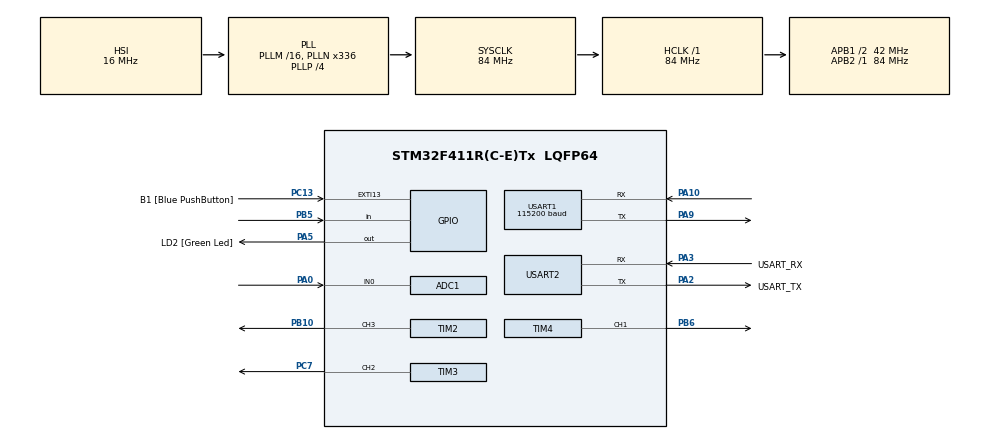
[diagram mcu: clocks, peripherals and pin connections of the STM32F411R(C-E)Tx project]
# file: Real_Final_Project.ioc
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ADC1.Channel-0\#ChannelRegularConversion=ADC_CHANNEL_0
ADC1.NbrOfConversionFlag=1
ADC1.Rank-0\#ChannelRegularConversion=1
ADC1.SamplingTime-0\#ChannelRegularConversion=ADC_SAMPLETIME_480CYCLES
ADC1.master=1
Mcu.Family=STM32F4
Mcu.Name=STM32F411R(C-E)Tx
Mcu.Package=LQFP64
NVIC.PriorityGroup=NVIC_PRIORITYGROUP_0
PA0-WKUP.Signal=ADCx_IN0
PA10.Mode=Asynchronous
PA10.Signal=USART1_RX
PA13.GPIO_Label=TMS
PA13.Mode=Serial_Wire
PA13.Signal=SYS_JTMS-SWDIO
PA14.GPIO_Label=TCK
PA14.Mode=Serial_Wire
PA14.Signal=SYS_JTCK-SWCLK
PA2.GPIO_Label=USART_TX
PA2.Mode=Asynchronous
PA2.Signal=USART2_TX
PA3.GPIO_Label=USART_RX
PA3.Mode=Asynchronous
PA3.Signal=USART2_RX
PA5.GPIO_Label=LD2 [Green Led]
PA5.Signal=GPIO_Output
PA9.Mode=Asynchronous
PA9.Signal=USART1_TX
PB10.Signal=S_TIM2_CH3
PB3.GPIO_Label=SWO
PB3.Signal=SYS_JTDO-SWO
PB5.Signal=GPIO_Input
PB6.Signal=S_TIM4_CH1
PC13-ANTI_TAMP.GPIO_Label=B1 [Blue PushButton]
PC13-ANTI_TAMP.GPIO_ModeDefaultEXTI=GPIO_MODE_IT_FALLING
PC13-ANTI_TAMP.Signal=GPXTI13
PC14-OSC32_IN.Mode=LSE-External-Oscillator
PC14-OSC32_IN.Signal=RCC_OSC32_IN
PC15-OSC32_OUT.Mode=LSE-External-Oscillator
PC15-OSC32_OUT.Signal=RCC_OSC32_OUT
PC7.Signal=S_TIM3_CH2
PH0\ -\ OSC_IN.Mode=HSE-External-Clock-Source
PH0\ -\ OSC_IN.Signal=RCC_OSC_IN
PH1\ -\ OSC_OUT.Mode=HSE-External-Clock-Source
PH1\ -\ OSC_OUT.Signal=RCC_OSC_OUT
ProjectManager.HeapSize=0x200
ProjectManager.StackSize=0x400
ProjectManager.TargetToolchain=STM32CubeIDE
RCC.48MHZClocksFreq_Value=84000000
RCC.AHBFreq_Value=84000000
RCC.APB1CLKDivider=RCC_HCLK_DIV2
RCC.APB1Freq_Value=42000000
RCC.APB1TimFreq_Value=84000000
RCC.APB2Freq_Value=84000000
RCC.APB2TimFreq_Value=84000000
RCC.CortexFreq_Value=84000000
RCC.FLatency-AdvancedSettings=FLASH_LATENCY_2
RCC.HCLKFreq_Value=84000000
RCC.HSE_VALUE=8000000
RCC.HSI_VALUE=16000000
RCC.PLLN=336
RCC.PLLP=RCC_PLLP_DIV4
RCC.SYSCLKFreq_VALUE=84000000
RCC.SYSCLKSource=RCC_SYSCLKSOURCE_PLLCLK
RCC.VCOOutputFreq_Value=336000000
SH.ADCx_IN0.0=ADC1_IN0,IN0
SH.S_TIM2_CH3.0=TIM2_CH3,PWM Generation3 CH3
SH.S_TIM3_CH2.0=TIM3_CH2,PWM Generation2 CH2
SH.S_TIM4_CH1.0=TIM4_CH1,PWM Generation1 CH1
TIM1.Prescaler=83
TIM2.Channel-PWM\ Generation3\ CH3=TIM_CHANNEL_3
TIM2.Period=999
TIM2.Prescaler=83
TIM3.Channel-PWM\ Generation2\ CH2=TIM_CHANNEL_2
TIM3.Period=999
TIM3.Prescaler=83
TIM4.Channel-PWM\ Generation1\ CH1=TIM_CHANNEL_1
TIM4.Period=999
TIM4.Prescaler=83
USART1.BaudRate=115200
USART1.VirtualMode=VM_ASYNC
USART2.VirtualMode=VM_ASYNC
VP_TIM1_VS_ClockSourceINT.Mode=Internal
VP_TIM2_VS_ClockSourceINT.Mode=Internal
VP_TIM3_VS_ClockSourceINT.Mode=Internal
VP_TIM4_VS_ClockSourceINT.Mode=Internal
board=NUCLEO-F411RE

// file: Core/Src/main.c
/* USER CODE BEGIN Header */
/**
  ******************************************************************************
  * @file           : main.c
  * @brief          : Main program body
  ******************************************************************************
  * @attention
  *
  * Copyright (c) 2025 STMicroelectronics.
  * All rights reserved.
  *
  * This software is licensed under terms that can be found in the LICENSE file
  * in the root directory of this software component.
  * If no LICENSE file comes with this software, it is provided AS-IS.
  *
  ******************************************************************************
  */
/* USER CODE END Header */
#include "main.h"

/* USER CODE BEGIN Includes */
#include <string.h>
#include <stdio.h>
#include <math.h>

#include <string.h>
/* USER CODE END Includes */

/* USER CODE BEGIN PD */
#define TEMP_OFFSET +2
#define HUM_OFFSET -5

/* USER CODE END PD */

ADC_HandleTypeDef hadc1;

TIM_HandleTypeDef htim1;
TIM_HandleTypeDef htim2;
TIM_HandleTypeDef htim3;
TIM_HandleTypeDef htim4;

UART_HandleTypeDef huart1;
UART_HandleTypeDef huart2;

/* USER CODE BEGIN PV */
uint8_t RH_byte1, RH_byte2, T_byte1, T_byte2, checksum;
uint16_t sum;
uint8_t presence = 0;
uint8_t display_mode = 0;
uint8_t button_pressed = 0;

int temperature = 0;
int humidity = 0;
uint32_t lightLevel = 0;

float current_r = 0, current_g = 0, current_b = 0;
float target_r = 0, target_g = 0, target_b = 0;
/* USER CODE END PV */

void SystemClock_Config(void);
static void MX_GPIO_Init(void);
static void MX_USART2_UART_Init(void);
static void MX_TIM1_Init(void);
static void MX_TIM2_Init(void);
static void MX_TIM3_Init(void);
static void MX_TIM4_Init(void);
static void MX_USART1_UART_Init(void);
static void MX_ADC1_Init(void);

/* USER CODE BEGIN 0 */
static volatile uint8_t tx_busy = 0;

void esp_send_async(const char *s) {
  if (tx_busy) return;
  tx_busy = 1;
  HAL_UART_Transmit_IT(&huart2, (uint8_t*)s, strlen(s));
}

void HAL_UART_TxCpltCallback(UART_HandleTypeDef *huart) {
  if (huart == &huart2) tx_busy = 0;
}

void delay_us(uint16_t time) {
  __HAL_TIM_SET_COUNTER(&htim1, 0);
  while(__HAL_TIM_GET_COUNTER(&htim1) < time);
}

void set_pin_output(GPIO_TypeDef *GPIOx, uint16_t GPIO_Pin) {
  GPIO_InitTypeDef GPIO_InitStruct = {0};
  GPIO_InitStruct.Pin = GPIO_Pin;
  GPIO_InitStruct.Mode = GPIO_MODE_OUTPUT_PP;
  GPIO_InitStruct.Speed = GPIO_SPEED_FREQ_LOW;
  HAL_GPIO_Init(GPIOx, &GPIO_InitStruct);
}

void set_pin_input(GPIO_TypeDef *GPIOx, uint16_t GPIO_Pin) {
  GPIO_InitTypeDef GPIO_InitStruct = {0};
  GPIO_InitStruct.Pin = GPIO_Pin;
  GPIO_InitStruct.Mode = GPIO_MODE_INPUT;
  GPIO_InitStruct.Pull = GPIO_NOPULL;
  HAL_GPIO_Init(GPIOx, &GPIO_InitStruct);
}

void DHT11_Start(void) {
  set_pin_output(GPIOB, GPIO_PIN_5);
  HAL_GPIO_WritePin(GPIOB, GPIO_PIN_5, GPIO_PIN_RESET);
  HAL_Delay(18);
  HAL_GPIO_WritePin(GPIOB, GPIO_PIN_5, GPIO_PIN_SET);
  delay_us(20);
  set_pin_input(GPIOB, GPIO_PIN_5);
}

uint8_t DHT11_Check_Response(void) {
  uint8_t response = 0;
  delay_us(40);
  if(!(HAL_GPIO_ReadPin(GPIOB, GPIO_PIN_5))) {
    delay_us(80);
    if((HAL_GPIO_ReadPin(GPIOB, GPIO_PIN_5))) response = 1;
    else response = 0;
  }
  while((HAL_GPIO_ReadPin(GPIOB, GPIO_PIN_5)));
  return response;
}

uint8_t DHT11_Read(void) {
  uint8_t i = 0, j;
  for(j = 0; j < 8; j++) {
    while(!(HAL_GPIO_ReadPin(GPIOB, GPIO_PIN_5)));
    delay_us(40);
    if(!(HAL_GPIO_ReadPin(GPIOB, GPIO_PIN_5))) {
      i &= ~(1 << (7 - j));
    } else {
      i |= (1 << (7 - j));
    }
    while((HAL_GPIO_ReadPin(GPIOB, GPIO_PIN_5)));
  }
  return i;
}

void set_rgb_pwm(uint8_t red, uint8_t green, uint8_t blue) {
  uint16_t r_pwm = (red * 999) / 255;
  uint16_t g_pwm = (green * 999) / 255;
  uint16_t b_pwm = (blue * 999) / 255;

  __HAL_TIM_SET_COMPARE(&htim3, TIM_CHANNEL_2, r_pwm);
  __HAL_TIM_SET_COMPARE(&htim4, TIM_CHANNEL_1, g_pwm);
  __HAL_TIM_SET_COMPARE(&htim2, TIM_CHANNEL_3, b_pwm);
}

void update_rgb_smooth(void) {
  float speed = 0.1;

  current_r += (target_r - current_r) * speed;
  current_g += (target_g - current_g) * speed;
  current_b += (target_b - current_b) * speed;

  set_rgb_pwm((uint8_t)current_r, (uint8_t)current_g, (uint8_t)current_b);
}

void set_target_color(uint8_t red, uint8_t green, uint8_t blue) {
  target_r = red;
  target_g = green;
  target_b = blue;
}

void set_temperature_color(int temp) {
  if (temp < 15) {
    set_target_color(0,
    		0,
			255);
  } else if (temp >= 15 && temp < 20) {
    float ratio = (temp - 10) / 5.0;
    set_target_color(0,
    		(uint8_t)(ratio * 255),
			255);
  } else if (temp >= 20 && temp < 25) {
    float ratio = (temp - 15) / 5.0;
    set_target_color(0,
    		255,
			(uint8_t)(255 - ratio * 255));
  } else if (temp >= 25 && temp <= 30) {
    set_target_color(0,
    		255,
			0);
  } else if (temp > 30 && temp <= 35) {
    float ratio = (temp - 30) / 5.0;
    set_target_color((uint8_t)(ratio * 255),
    		255,
			0);
  } else if (temp > 35 && temp <= 40) {
    float ratio = (temp - 35) / 5.0;
    set_target_color(255,
    		(uint8_t)(255 - ratio * 255),
			0);
  } else {
    set_target_color(255,
    		0,
			0);
  }
}

void set_humidity_color(int humidity) {
  if (humidity < 0) humidity = 0;
  if (humidity > 100) humidity = 100;

  float t;
  if (humidity <= 50) {
    t = 0.0f;
  } else if (humidity >= 80) {
    t = 1.0f;
  } else {
    t = (humidity - 50) / 30.0f;
  }

  uint8_t r = (uint8_t)(255 * (1.0f - t));
  uint8_t g = (uint8_t)(255 * (1.0f - t));
  uint8_t b = (uint8_t)(255 * t);

  set_target_color(r, g, b);
}

void set_light_color(uint32_t lightADC) {
  if (lightADC < 500) {
	set_target_color(255,
			0,
			255);
  } else if (lightADC < 2000) {
    float ratio = (lightADC - 500) / 1500.0;
    set_target_color(255,
    		(uint8_t)(ratio * 255),
			(uint8_t)(255 - ratio * 255));
  } else if (lightADC < 3500) {
    float ratio = (lightADC - 2000) / 1500.0;
    set_target_color((uint8_t)(255 - ratio * 255),
    		255,
			(uint8_t)(ratio * 255));
  } else {
    set_target_color(0,
    		255,
			255);
  }
}

/* USER CODE END 0 */

int main(void)
{

  /* MCU Configuration--------------------------------------------------------*/

  /* Reset of all peripherals, Initializes the Flash interface and the Systick. */
  HAL_Init();

  /* Configure the system clock */
  SystemClock_Config();

  /* Initialize all configured peripherals */
  MX_GPIO_Init();
  MX_USART2_UART_Init();
  MX_TIM1_Init();
  MX_TIM2_Init();
  MX_TIM3_Init();
  MX_TIM4_Init();
  MX_USART1_UART_Init();
  MX_ADC1_Init();
  /* USER CODE BEGIN 2 */
  HAL_TIM_Base_Start(&htim1);

  HAL_TIM_PWM_Start(&htim3, TIM_CHANNEL_2);
  HAL_TIM_PWM_Start(&htim4, TIM_CHANNEL_1);
  HAL_TIM_PWM_Start(&htim2, TIM_CHANNEL_3);

  set_rgb_pwm(0, 0, 0);

  display_mode = 0;
  button_pressed = 0;
  char mode_msg[50];
  sprintf(mode_msg, "Mode: TEMPERATURE\r\n");
  HAL_UART_Transmit(&huart2, (uint8_t*)mode_msg, strlen(mode_msg), HAL_MAX_DELAY);
  /* USER CODE END 2 */

  /* Infinite loop */
  /* USER CODE BEGIN WHILE */
  while (1)
  {
    for (int i = 0; i < 20; i++) {
      update_rgb_smooth();
      HAL_Delay(10);

      if (HAL_GPIO_ReadPin(GPIOC, GPIO_PIN_13) == GPIO_PIN_RESET) {
        if (!button_pressed) {
          button_pressed = 1;
          display_mode = (display_mode + 1) % 3;
          HAL_Delay(200);

          if (display_mode == 0) sprintf(mode_msg, "Mode: TEMPERATURE\r\n");
          else if (display_mode == 1) sprintf(mode_msg, "Mode: HUMIDITY\r\n");
          else sprintf(mode_msg, "Mode: LIGHT\r\n");

          HAL_UART_Transmit(&huart2, (uint8_t*)mode_msg, strlen(mode_msg), HAL_MAX_DELAY);
        }
      } else {
        button_pressed = 0;
      }
    }

    DHT11_Start();
    presence = DHT11_Check_Response();

    if(presence) {
      RH_byte1 = DHT11_Read();
      RH_byte2 = DHT11_Read();
      T_byte1 = DHT11_Read();
      T_byte2 = DHT11_Read();
      checksum = DHT11_Read();

      sum = RH_byte1 + RH_byte2 + T_byte1 + T_byte2;

      if(sum == checksum) {
        temperature = T_byte1;
        humidity = RH_byte1;

        temperature += TEMP_OFFSET;
        humidity += HUM_OFFSET;

        if (humidity < 0) humidity = 0;
        if (humidity > 100) humidity = 100;
      }
    }

    HAL_ADC_Start(&hadc1);
    if (HAL_ADC_PollForConversion(&hadc1, 100) == HAL_OK) {
      lightLevel = HAL_ADC_GetValue(&hadc1);
    }
    HAL_ADC_Stop(&hadc1);

    char display_msg[100];

    if (display_mode == 0) {
      sprintf(display_msg, "Temperature: %d°C\r\n", temperature);
      set_temperature_color(temperature);
    } else if (display_mode == 1) {
      sprintf(display_msg, "Humidity: %d%%\r\n", humidity);
      set_humidity_color(humidity);
    } else {
      sprintf(display_msg, "Light Level: %lu\r\n", lightLevel);
      set_light_color(lightLevel);
    }

    HAL_UART_Transmit(&huart2, (uint8_t*)display_msg, strlen(display_msg), HAL_MAX_DELAY);

    char esp_data[50];
    sprintf(esp_data, "%d,%lu,%d\n", temperature, lightLevel, humidity);
    HAL_UART_Transmit(&huart1, (uint8_t*)esp_data, strlen(esp_data), HAL_MAX_DELAY);

    HAL_Delay(1800);
    /* USER CODE END WHILE */

  }
}

void SystemClock_Config(void)
{
  RCC_OscInitTypeDef RCC_OscInitStruct = {0};
  RCC_ClkInitTypeDef RCC_ClkInitStruct = {0};

  /** Configure the main internal regulator output voltage
  */
  __HAL_RCC_PWR_CLK_ENABLE();
  __HAL_PWR_VOLTAGESCALING_CONFIG(PWR_REGULATOR_VOLTAGE_SCALE1);

  /** Initializes the RCC Oscillators according to the specified parameters
  * in the RCC_OscInitTypeDef structure.
  */
  RCC_OscInitStruct.OscillatorType = RCC_OSCILLATORTYPE_HSI;
  RCC_OscInitStruct.HSIState = RCC_HSI_ON;
  RCC_OscInitStruct.HSICalibrationValue = RCC_HSICALIBRATION_DEFAULT;
  RCC_OscInitStruct.PLL.PLLState = RCC_PLL_ON;
  RCC_OscInitStruct.PLL.PLLSource = RCC_PLLSOURCE_HSI;
  RCC_OscInitStruct.PLL.PLLM = 16;
  RCC_OscInitStruct.PLL.PLLN = 336;
  RCC_OscInitStruct.PLL.PLLP = RCC_PLLP_DIV4;
  RCC_OscInitStruct.PLL.PLLQ = 4;
  if (HAL_RCC_OscConfig(&RCC_OscInitStruct) != HAL_OK)
  {
    Error_Handler();
  }

  /** Initializes the CPU, AHB and APB buses clocks
  */
  RCC_ClkInitStruct.ClockType = RCC_CLOCKTYPE_HCLK|RCC_CLOCKTYPE_SYSCLK
                              |RCC_CLOCKTYPE_PCLK1|RCC_CLOCKTYPE_PCLK2;
  RCC_ClkInitStruct.SYSCLKSource = RCC_SYSCLKSOURCE_PLLCLK;
  RCC_ClkInitStruct.AHBCLKDivider = RCC_SYSCLK_DIV1;
  RCC_ClkInitStruct.APB1CLKDivider = RCC_HCLK_DIV2;
  RCC_ClkInitStruct.APB2CLKDivider = RCC_HCLK_DIV1;

  if (HAL_RCC_ClockConfig(&RCC_ClkInitStruct, FLASH_LATENCY_2) != HAL_OK)
  {
    Error_Handler();
  }
}

static void MX_ADC1_Init(void)
{

  ADC_ChannelConfTypeDef sConfig = {0};

  /** Configure the global features of the ADC (Clock, Resolution, Data Alignment and number of conversion)
  */
  hadc1.Instance = ADC1;
  hadc1.Init.ClockPrescaler = ADC_CLOCK_SYNC_PCLK_DIV4;
  hadc1.Init.Resolution = ADC_RESOLUTION_12B;
  hadc1.Init.ScanConvMode = DISABLE;
  hadc1.Init.ContinuousConvMode = DISABLE;
  hadc1.Init.DiscontinuousConvMode = DISABLE;
  hadc1.Init.ExternalTrigConvEdge = ADC_EXTERNALTRIGCONVEDGE_NONE;
  hadc1.Init.ExternalTrigConv = ADC_SOFTWARE_START;
  hadc1.Init.DataAlign = ADC_DATAALIGN_RIGHT;
  hadc1.Init.NbrOfConversion = 1;
  hadc1.Init.DMAContinuousRequests = DISABLE;
  hadc1.Init.EOCSelection = ADC_EOC_SINGLE_CONV;
  if (HAL_ADC_Init(&hadc1) != HAL_OK)
  {
    Error_Handler();
  }

  /** Configure for the selected ADC regular channel its corresponding rank in the sequencer and its sample time.
  */
  sConfig.Channel = ADC_CHANNEL_0;
  sConfig.Rank = 1;
  sConfig.SamplingTime = ADC_SAMPLETIME_480CYCLES;
  if (HAL_ADC_ConfigChannel(&hadc1, &sConfig) != HAL_OK)
  {
    Error_Handler();
  }

}

static void MX_TIM1_Init(void)
{

  TIM_ClockConfigTypeDef sClockSourceConfig = {0};
  TIM_MasterConfigTypeDef sMasterConfig = {0};

  htim1.Instance = TIM1;
  htim1.Init.Prescaler = 83;
  htim1.Init.CounterMode = TIM_COUNTERMODE_UP;
  htim1.Init.Period = 65535;
  htim1.Init.ClockDivision = TIM_CLOCKDIVISION_DIV1;
  htim1.Init.RepetitionCounter = 0;
  htim1.Init.AutoReloadPreload = TIM_AUTORELOAD_PRELOAD_DISABLE;
  if (HAL_TIM_Base_Init(&htim1) != HAL_OK)
  {
    Error_Handler();
  }
  sClockSourceConfig.ClockSource = TIM_CLOCKSOURCE_INTERNAL;
  if (HAL_TIM_ConfigClockSource(&htim1, &sClockSourceConfig) != HAL_OK)
  {
    Error_Handler();
  }
  sMasterConfig.MasterOutputTrigger = TIM_TRGO_RESET;
  sMasterConfig.MasterSlaveMode = TIM_MASTERSLAVEMODE_DISABLE;
  if (HAL_TIMEx_MasterConfigSynchronization(&htim1, &sMasterConfig) != HAL_OK)
  {
    Error_Handler();
  }

}

static void MX_TIM2_Init(void)
{

  TIM_ClockConfigTypeDef sClockSourceConfig = {0};
  TIM_MasterConfigTypeDef sMasterConfig = {0};
  TIM_OC_InitTypeDef sConfigOC = {0};

  htim2.Instance = TIM2;
  htim2.Init.Prescaler = 83;
  htim2.Init.CounterMode = TIM_COUNTERMODE_UP;
  htim2.Init.Period = 999;
  htim2.Init.ClockDivision = TIM_CLOCKDIVISION_DIV1;
  htim2.Init.AutoReloadPreload = TIM_AUTORELOAD_PRELOAD_DISABLE;
  if (HAL_TIM_Base_Init(&htim2) != HAL_OK)
  {
    Error_Handler();
  }
  sClockSourceConfig.ClockSource = TIM_CLOCKSOURCE_INTERNAL;
  if (HAL_TIM_ConfigClockSource(&htim2, &sClockSourceConfig) != HAL_OK)
  {
    Error_Handler();
  }
  if (HAL_TIM_PWM_Init(&htim2) != HAL_OK)
  {
    Error_Handler();
  }
  sMasterConfig.MasterOutputTrigger = TIM_TRGO_RESET;
  sMasterConfig.MasterSlaveMode = TIM_MASTERSLAVEMODE_DISABLE;
  if (HAL_TIMEx_MasterConfigSynchronization(&htim2, &sMasterConfig) != HAL_OK)
  {
    Error_Handler();
  }
  sConfigOC.OCMode = TIM_OCMODE_PWM1;
  sConfigOC.Pulse = 0;
  sConfigOC.OCPolarity = TIM_OCPOLARITY_HIGH;
  sConfigOC.OCFastMode = TIM_OCFAST_DISABLE;
  if (HAL_TIM_PWM_ConfigChannel(&htim2, &sConfigOC, TIM_CHANNEL_3) != HAL_OK)
  {
    Error_Handler();
  }
  HAL_TIM_MspPostInit(&htim2);

}

static void MX_TIM3_Init(void)
{

  TIM_ClockConfigTypeDef sClockSourceConfig = {0};
  TIM_MasterConfigTypeDef sMasterConfig = {0};
  TIM_OC_InitTypeDef sConfigOC = {0};

  htim3.Instance = TIM3;
  htim3.Init.Prescaler = 83;
  htim3.Init.CounterMode = TIM_COUNTERMODE_UP;
  htim3.Init.Period = 999;
  htim3.Init.ClockDivision = TIM_CLOCKDIVISION_DIV1;
  htim3.Init.AutoReloadPreload = TIM_AUTORELOAD_PRELOAD_DISABLE;
  if (HAL_TIM_Base_Init(&htim3) != HAL_OK)
  {
    Error_Handler();
  }
  sClockSourceConfig.ClockSource = TIM_CLOCKSOURCE_INTERNAL;
  if (HAL_TIM_ConfigClockSource(&htim3, &sClockSourceConfig) != HAL_OK)
  {
    Error_Handler();
  }
  if (HAL_TIM_PWM_Init(&htim3) != HAL_OK)
  {
    Error_Handler();
  }
  sMasterConfig.MasterOutputTrigger = TIM_TRGO_RESET;
  sMasterConfig.MasterSlaveMode = TIM_MASTERSLAVEMODE_DISABLE;
  if (HAL_TIMEx_MasterConfigSynchronization(&htim3, &sMasterConfig) != HAL_OK)
  {
    Error_Handler();
  }
  sConfigOC.OCMode = TIM_OCMODE_PWM1;
  sConfigOC.Pulse = 0;
  sConfigOC.OCPolarity = TIM_OCPOLARITY_HIGH;
  sConfigOC.OCFastMode = TIM_OCFAST_DISABLE;
  if (HAL_TIM_PWM_ConfigChannel(&htim3, &sConfigOC, TIM_CHANNEL_2) != HAL_OK)
  {
    Error_Handler();
  }
  HAL_TIM_MspPostInit(&htim3);

}

static void MX_TIM4_Init(void)
{

  TIM_ClockConfigTypeDef sClockSourceConfig = {0};
  TIM_MasterConfigTypeDef sMasterConfig = {0};
  TIM_OC_InitTypeDef sConfigOC = {0};

  htim4.Instance = TIM4;
  htim4.Init.Prescaler = 83;
  htim4.Init.CounterMode = TIM_COUNTERMODE_UP;
  htim4.Init.Period = 999;
  htim4.Init.ClockDivision = TIM_CLOCKDIVISION_DIV1;
  htim4.Init.AutoReloadPreload = TIM_AUTORELOAD_PRELOAD_DISABLE;
  if (HAL_TIM_Base_Init(&htim4) != HAL_OK)
  {
    Error_Handler();
  }
  sClockSourceConfig.ClockSource = TIM_CLOCKSOURCE_INTERNAL;
  if (HAL_TIM_ConfigClockSource(&htim4, &sClockSourceConfig) != HAL_OK)
  {
    Error_Handler();
  }
  if (HAL_TIM_PWM_Init(&htim4) != HAL_OK)
  {
    Error_Handler();
  }
  sMasterConfig.MasterOutputTrigger = TIM_TRGO_RESET;
  sMasterConfig.MasterSlaveMode = TIM_MASTERSLAVEMODE_DISABLE;
  if (HAL_TIMEx_MasterConfigSynchronization(&htim4, &sMasterConfig) != HAL_OK)
  {
    Error_Handler();
  }
  sConfigOC.OCMode = TIM_OCMODE_PWM1;
  sConfigOC.Pulse = 0;
  sConfigOC.OCPolarity = TIM_OCPOLARITY_HIGH;
  sConfigOC.OCFastMode = TIM_OCFAST_DISABLE;
  if (HAL_TIM_PWM_ConfigChannel(&htim4, &sConfigOC, TIM_CHANNEL_1) != HAL_OK)
  {
    Error_Handler();
  }
  HAL_TIM_MspPostInit(&htim4);

}

static void MX_USART1_UART_Init(void)
{

  huart1.Instance = USART1;
  huart1.Init.BaudRate = 115200;
  huart1.Init.WordLength = UART_WORDLENGTH_8B;
  huart1.Init.StopBits = UART_STOPBITS_1;
  huart1.Init.Parity = UART_PARITY_NONE;
  huart1.Init.Mode = UART_MODE_TX_RX;
  huart1.Init.HwFlowCtl = UART_HWCONTROL_NONE;
  huart1.Init.OverSampling = UART_OVERSAMPLING_16;
  if (HAL_UART_Init(&huart1) != HAL_OK)
  {
    Error_Handler();
  }

}

static void MX_USART2_UART_Init(void)
{

  huart2.Instance = USART2;
  huart2.Init.BaudRate = 115200;
  huart2.Init.WordLength = UART_WORDLENGTH_8B;
  huart2.Init.StopBits = UART_STOPBITS_1;
  huart2.Init.Parity = UART_PARITY_NONE;
  huart2.Init.Mode = UART_MODE_TX_RX;
  huart2.Init.HwFlowCtl = UART_HWCONTROL_NONE;
  huart2.Init.OverSampling = UART_OVERSAMPLING_16;
  if (HAL_UART_Init(&huart2) != HAL_OK)
  {
    Error_Handler();
  }

}

static void MX_GPIO_Init(void)
{
  GPIO_InitTypeDef GPIO_InitStruct = {0};

  /* GPIO Ports Clock Enable */
  __HAL_RCC_GPIOC_CLK_ENABLE();
  __HAL_RCC_GPIOH_CLK_ENABLE();
  __HAL_RCC_GPIOA_CLK_ENABLE();
  __HAL_RCC_GPIOB_CLK_ENABLE();

  /*Configure GPIO pin Output Level */
  HAL_GPIO_WritePin(LD2_GPIO_Port, LD2_Pin, GPIO_PIN_RESET);

  /*Configure GPIO pin : B1_Pin */
  GPIO_InitStruct.Pin = B1_Pin;
  GPIO_InitStruct.Mode = GPIO_MODE_IT_FALLING;
  GPIO_InitStruct.Pull = GPIO_NOPULL;
  HAL_GPIO_Init(B1_GPIO_Port, &GPIO_InitStruct);

  /*Configure GPIO pin : LD2_Pin */
  GPIO_InitStruct.Pin = LD2_Pin;
  GPIO_InitStruct.Mode = GPIO_MODE_OUTPUT_PP;
  GPIO_InitStruct.Pull = GPIO_NOPULL;
  GPIO_InitStruct.Speed = GPIO_SPEED_FREQ_LOW;
  HAL_GPIO_Init(LD2_GPIO_Port, &GPIO_InitStruct);

  /*Configure GPIO pin : PB5 */
  GPIO_InitStruct.Pin = GPIO_PIN_5;
  GPIO_InitStruct.Mode = GPIO_MODE_INPUT;
  GPIO_InitStruct.Pull = GPIO_NOPULL;
  HAL_GPIO_Init(GPIOB, &GPIO_InitStruct);

}

void Error_Handler(void)
{
  __disable_irq();
  while (1)
  {
  }
}
